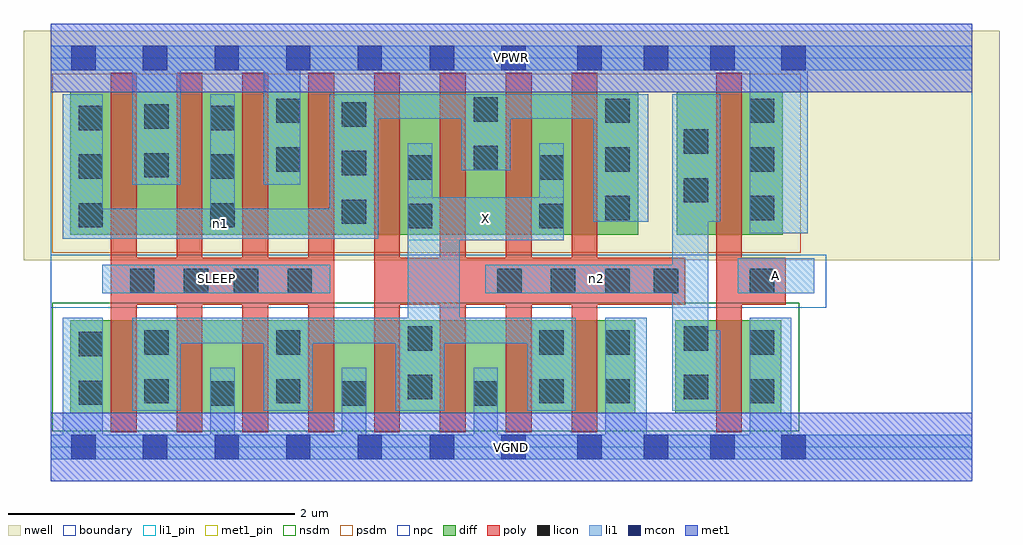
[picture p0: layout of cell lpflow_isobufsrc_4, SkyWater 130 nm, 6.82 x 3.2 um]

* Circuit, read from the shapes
.subckt lpflow_isobufsrc_4 A SLEEP VGND VPWR X n1 n2
XM1 X SLEEP VGND VSUBS sky130_fd_pr__nfet_01v8 w=0.65 l=0.18 m=4
XM2 X n2 VGND VSUBS sky130_fd_pr__nfet_01v8 w=0.65 l=0.18 m=4
XM3 VGND A n2 VSUBS sky130_fd_pr__nfet_01v8 w=0.65 l=0.18
XM4 VPWR SLEEP n1 n3 sky130_fd_pr__pfet_01v8 w=1 l=0.18 m=4
XM5 X n2 n1 n3 sky130_fd_pr__pfet_01v8 w=1 l=0.18 m=4
XM6 VPWR A n2 n3 sky130_fd_pr__pfet_01v8 w=1 l=0.18
.ends

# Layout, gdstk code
import gdstk
lib = gdstk.Library(unit=1e-6, precision=1e-09)
def R(c, l, rs):  # rectangles x0, y0, x1, y1
    for r in rs: c.add(gdstk.rectangle(r[:2], r[2:], *l))
def A(c, l, x, y, w, h, nx, ny, dx, dy):  # array of equal rectangles
    R(c, l, [(x+i*dx, y+j*dy, x+i*dx+w, y+j*dy+h) for i in range(nx) for j in range(ny)])
nwell = (64, 20)
diff = (65, 20)
poly = (66, 20)
licon = (66, 44)
li1_pin = (67, 16)
li1 = (67, 20)
mcon = (67, 44)
met1_pin = (68, 16)
met1 = (68, 20)
nsdm = (93, 44)
psdm = (94, 20)
npc = (95, 20)
boundary = (235, 4)

lpflow_isobufsrc_4 = lib.new_cell('lpflow_isobufsrc_4')
R(lpflow_isobufsrc_4, nwell, [(-0.19,1.305,6.63,2.91), (0,1.305,6.44,2.91)])
R(lpflow_isobufsrc_4, diff, [(0.135,0.235,4.085,0.885), (4.365,0.235,5.105,0.885), (0.135,1.485,4.105,2.485), (4.375,1.485,5.115,2.485)])
A(lpflow_isobufsrc_4, poly, 0.42, 0.105, 0.18, 2.51, 8, 1, 0.46, 0)
R(lpflow_isobufsrc_4, poly, [(4.65,0.105,4.83,2.615), (0.42,0.995,1.98,1.325), (2.26,0.995,4.435,1.325), (4.65,0.995,5.135,1.325)])
A(lpflow_isobufsrc_4, licon, 1.115, 0.29, 0.17, 0.17, 3, 1, 0.92, 0)
A(lpflow_isobufsrc_4, licon, 0.195, 1.535, 0.17, 0.17, 1, 3, 0, 0.34)
A(lpflow_isobufsrc_4, licon, 1.115, 1.535, 0.17, 0.17, 1, 3, 0, 0.34)
A(lpflow_isobufsrc_4, licon, 2.035, 1.56, 0.17, 0.17, 1, 3, 0, 0.34)
A(lpflow_isobufsrc_4, licon, 3.875, 1.585, 0.17, 0.17, 1, 3, 0, 0.34)
A(lpflow_isobufsrc_4, licon, 4.885, 1.585, 0.17, 0.17, 1, 3, 0, 0.34)
R(lpflow_isobufsrc_4, licon, [(0.195,0.295,0.365,0.465), (0.655,0.305,0.825,0.475), (1.575,0.305,1.745,0.475), (3.415,0.305,3.585,0.475), (3.875,0.305,4.045,0.475), (4.885,0.305,5.055,0.475), (2.495,0.335,2.665,0.505), (4.425,0.335,4.595,0.505), (0.195,0.635,0.365,0.805), (0.655,0.645,0.825,0.815), (1.575,0.645,1.745,0.815), (3.415,0.645,3.585,0.815), (3.875,0.645,4.045,0.815), (4.885,0.645,5.055,0.815), (2.495,0.675,2.665,0.845), (4.425,0.675,4.595,0.845), (0.555,1.075,0.725,1.245), (0.93,1.075,1.1,1.245), (1.28,1.075,1.45,1.245), (1.655,1.075,1.825,1.245), (3.12,1.075,3.29,1.245), (3.495,1.075,3.665,1.245), (3.875,1.075,4.045,1.245), (4.215,1.075,4.385,1.245), (4.885,1.075,5.055,1.245), (2.495,1.53,2.665,1.7), (3.415,1.53,3.585,1.7), (4.425,1.71,4.595,1.88), (2.495,1.87,2.665,2.04), (3.415,1.87,3.585,2.04), (0.655,1.885,0.825,2.055), (1.575,1.925,1.745,2.095), (2.955,1.935,3.125,2.105), (4.425,2.05,4.595,2.22), (0.655,2.225,0.825,2.395), (1.575,2.265,1.745,2.435), (2.955,2.275,3.125,2.445)])
R(lpflow_isobufsrc_4, li1_pin, [(0.36,1.075,1.955,1.275), (4.8,1.075,5.335,1.32), (2.495,1.445,3.585,1.745)])
A(lpflow_isobufsrc_4, li1, 1.115, -0.085, 0.17, 0.64, 3, 1, 0.92, 0)
A(lpflow_isobufsrc_4, li1, 0.57, 0.255, 0.34, 0.65, 4, 1, 0.92, 0)
R(lpflow_isobufsrc_4, li1, [(0,-0.085,6.44,0.085), (0.085,-0.085,0.365,0.905), (3.875,-0.085,4.165,0.905), (4.885,-0.085,5.175,0.905), (2.495,0.255,2.665,2.125), (4.345,0.255,4.595,2.465), (4.345,0.255,4.68,0.815), (0.57,0.725,3.67,0.905), (2.495,0.725,2.86,1.745), (0.36,1.075,1.955,1.275), (3.035,1.075,4.595,1.275), (4.8,1.075,5.335,1.32), (2.495,1.445,3.585,1.745), (3.415,1.445,3.585,2.125), (0.085,1.455,2.29,1.665), (0.085,1.455,0.365,2.465), (1.115,1.455,1.285,2.465), (1.95,1.455,2.29,2.465), (4.885,1.495,5.29,2.805), (3.79,1.575,4.175,2.465), (4.345,1.575,4.68,2.465), (0.57,1.835,0.91,2.805), (1.49,1.835,1.745,2.805), (2.87,1.935,3.21,2.465), (1.95,2.295,4.175,2.465), (0,2.635,6.44,2.805)])
A(lpflow_isobufsrc_4, mcon, 0.145, -0.085, 0.17, 0.17, 5, 2, 0.5, 2.72)
A(lpflow_isobufsrc_4, mcon, 3.68, -0.085, 0.17, 0.17, 3, 2, 0.465, 2.72)
R(lpflow_isobufsrc_4, mcon, [(2.65,-0.085,2.82,0.085), (3.15,-0.085,3.32,0.085), (5.105,-0.085,5.275,0.085), (2.65,2.635,2.82,2.805), (3.15,2.635,3.32,2.805), (5.105,2.635,5.275,2.805)])
R(lpflow_isobufsrc_4, met1_pin, [(0,-0.24,6.44,0.24), (0,2.48,6.44,2.96)])
R(lpflow_isobufsrc_4, met1, [(0,-0.24,6.44,0.24), (0,2.48,6.44,2.96)])
R(lpflow_isobufsrc_4, nsdm, [(0.01,0.11,5.23,1.01)])
R(lpflow_isobufsrc_4, psdm, [(0.01,1.36,5.24,2.61)])
R(lpflow_isobufsrc_4, npc, [(0,0.975,5.42,1.345)])
R(lpflow_isobufsrc_4, boundary, [(0,0,6.44,2.72)])
lpflow_isobufsrc_4.add(gdstk.Label('A', (5.067,1.197), layer=67, texttype=5))
lpflow_isobufsrc_4.add(gdstk.Label('SLEEP', (1.157,1.175), layer=67, texttype=5))
lpflow_isobufsrc_4.add(gdstk.Label('X', (3.04,1.595), layer=67, texttype=5))
lpflow_isobufsrc_4.add(gdstk.Label('n1', (1.187,1.56), layer=67, texttype=5))
lpflow_isobufsrc_4.add(gdstk.Label('n2', (3.815,1.175), layer=67, texttype=5))
lpflow_isobufsrc_4.add(gdstk.Label('VPWR', (3.22,2.72), layer=68, texttype=5))
lpflow_isobufsrc_4.add(gdstk.Label('VGND', (3.22,0), layer=68, texttype=5))
lpflow_isobufsrc_4.add(gdstk.Label('A', (5.067,1.197), layer=67, texttype=16))
lpflow_isobufsrc_4.add(gdstk.Label('SLEEP', (1.157,1.175), layer=67, texttype=16))
lpflow_isobufsrc_4.add(gdstk.Label('X', (3.04,1.595), layer=67, texttype=16))
lpflow_isobufsrc_4.add(gdstk.Label('VPWR', (3.22,2.72), layer=68, texttype=16))
lpflow_isobufsrc_4.add(gdstk.Label('VGND', (3.22,0), layer=68, texttype=16))

lib.write_gds('lpflow_isobufsrc_4.gds')
